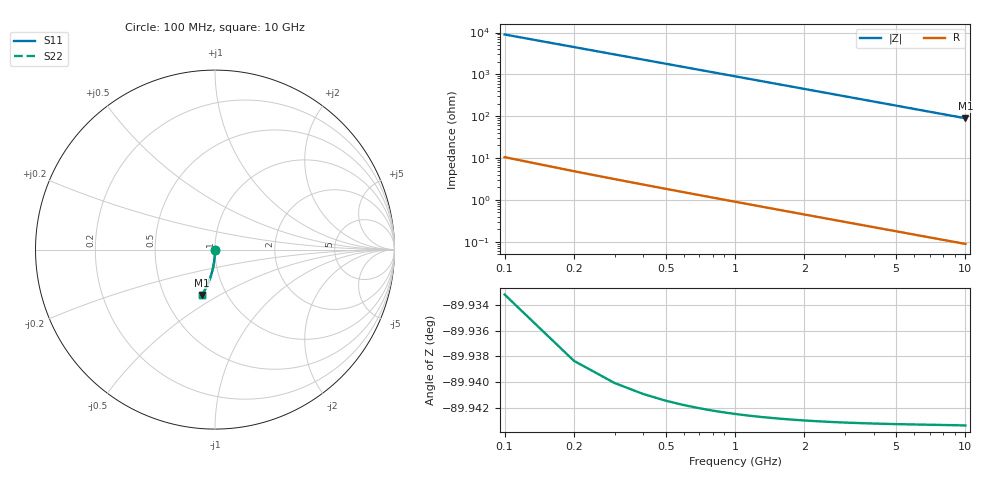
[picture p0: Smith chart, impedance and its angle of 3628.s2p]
# Hz S RI R 50.00
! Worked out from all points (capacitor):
!   100 points, 100 MHz to 10 GHz, reference 50 ohm
!   read as one part in shunt: C = 177 fF near 100 MHz
!   lowest |Z| = 89.4 ohm at 10 GHz (marker M1)
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1e8  1.5e-06 -0.00271  1 -0.00284  1 -0.00284  1.5e-06 -0.00271
2e8  -2.43e-05 -0.00543  1 -0.00568  1 -0.00568  -2.43e-05 -0.00543
3e8  -6.56e-05 -0.00814  0.9999 -0.00853  0.9999 -0.00853  -6.56e-05 -0.00814
4e8  -0.000122 -0.0109  0.9999 -0.0114  0.9999 -0.0114  -0.000122 -0.0109
5e8  -0.000194 -0.0136  0.9998 -0.0142  0.9998 -0.0142  -0.000194 -0.0136
6e8  -0.000282 -0.0163  0.9997 -0.0171  0.9997 -0.0171  -0.000282 -0.0163
7e8  -0.000385 -0.019  0.9996 -0.0199  0.9996 -0.0199  -0.000385 -0.019
8e8  -0.000503 -0.0217  0.9995 -0.0227  0.9995 -0.0227  -0.000503 -0.0217
9e8  -0.000637 -0.0244  0.9993 -0.0256  0.9993 -0.0256  -0.000637 -0.0244
1.1e9  -0.000951 -0.0298  0.999 -0.0313  0.999 -0.0313  -0.000951 -0.0298
1.4e9  -0.00154 -0.038  0.9984 -0.0398  0.9984 -0.0398  -0.00154 -0.038
1.8e9  -0.00254 -0.0488  0.9974 -0.0511  0.9974 -0.0511  -0.00254 -0.0488
2.1e9  -0.00345 -0.0569  0.9965 -0.0596  0.9965 -0.0596  -0.00345 -0.0569
2.5e9  -0.00487 -0.0676  0.9951 -0.0709  0.9951 -0.0709  -0.00487 -0.0676
2.9e9  -0.00654 -0.0784  0.9934 -0.0821  0.9934 -0.0821  -0.00654 -0.0784
3.4e9  -0.00897 -0.0917  0.991 -0.0961  0.991 -0.0961  -0.00897 -0.0917
4.2e9  -0.0136 -0.1128  0.9863 -0.1182  0.9863 -0.1182  -0.0136 -0.1128
5.1e9  -0.02 -0.1362  0.98 -0.1428  0.98 -0.1428  -0.02 -0.1362
5.9e9  -0.0266 -0.1566  0.9734 -0.1642  0.9734 -0.1642  -0.0266 -0.1566
6.7e9  -0.034 -0.1765  0.9659 -0.1852  0.9659 -0.1852  -0.034 -0.1765
8.4e9  -0.0525 -0.2171  0.9474 -0.2282  0.9474 -0.2282  -0.0525 -0.2171
1e10  -0.0729 -0.2529  0.927 -0.2662  0.927 -0.2662  -0.0729 -0.2529
